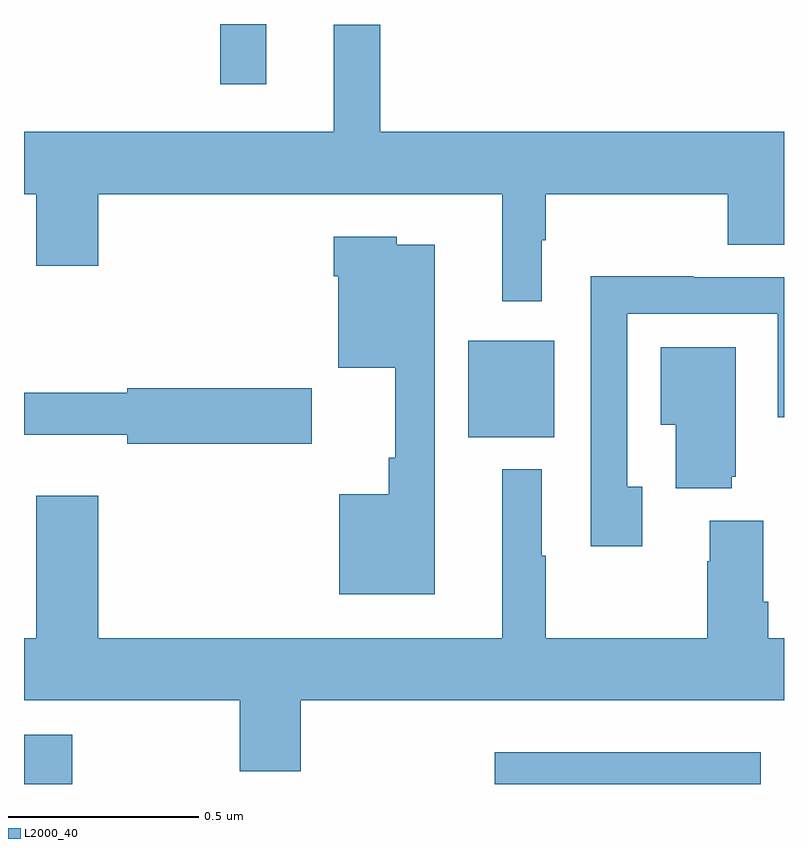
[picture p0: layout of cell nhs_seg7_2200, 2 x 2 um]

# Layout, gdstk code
import gdstk
lib = gdstk.Library(unit=1e-6, precision=1e-09)
def R(c, l, rs):  # rectangles x0, y0, x1, y1
    for r in rs: c.add(gdstk.rectangle(r[:2], r[2:], *l))
def P(c, l, *ps):  # polygons
    for p in ps: c.add(gdstk.Polygon(p, *l))
L2000_40 = (2000, 40)

nhs_seg7_2200 = lib.new_cell('nhs_seg7_2200')
R(nhs_seg7_2200, L2000_40, [(141,1063,141.127,1063.129), (142.239,1063,142.939,1063.084), (142.169,1063.913,142.396,1064.167), (141.516,1064.841,141.637,1065)])
P(nhs_seg7_2200, L2000_40, [(142.363,1064.431),(142.373,1064.431),(142.373,1064.552),(142.852,1064.552),(142.852,1064.419),(143,1064.419),(143,1064.716),(141.937,1064.716),(141.937,1064.998),(141.815,1064.998),(141.815,1064.716),(141,1064.716),(141,1064.552),(141.032,1064.552),(141.032,1064.364),(141.196,1064.364),(141.196,1064.552),(142.259,1064.552),(142.259,1064.271),(142.363,1064.271)],
  [(142.081,1064.419),(141.981,1064.419),(141.981,1064.44),(141.815,1064.44),(141.815,1064.336),(141.827,1064.336),(141.827,1064.096),(141.977,1064.096),(141.977,1063.858),(141.96,1063.858),(141.96,1063.762),(141.83,1063.762),(141.83,1063.499),(142.081,1063.499)],
  [(142.627,1063.782),(142.587,1063.782),(142.587,1064.238),(142.983,1064.238),(142.983,1063.965),(143,1063.965),(143,1064.334),(142.763,1064.334),(142.763,1064.336),(142.491,1064.336),(142.491,1063.626),(142.627,1063.626)],
  [(142.862,1063.809),(142.873,1063.809),(142.873,1064.149),(142.676,1064.149),(142.676,1063.946),(142.715,1063.946),(142.715,1063.778),(142.862,1063.778)],
  [(141.757,1064.042),(141.272,1064.042),(141.272,1064.029),(141,1064.029),(141,1063.919),(141.272,1063.919),(141.272,1063.895),(141.757,1063.895)],
  [(141.728,1063.22),(143,1063.22),(143,1063.384),(142.958,1063.384),(142.958,1063.48),(142.945,1063.48),(142.945,1063.693),(142.805,1063.693),(142.805,1063.586),(142.798,1063.586),(142.798,1063.384),(142.373,1063.384),(142.373,1063.601),(142.363,1063.601),(142.363,1063.828),(142.259,1063.828),(142.259,1063.384),(141.196,1063.384),(141.196,1063.759),(141.032,1063.759),(141.032,1063.384),(141,1063.384),(141,1063.22),(141.568,1063.22),(141.568,1063.033),(141.728,1063.033)])

lib.write_gds('nhs_seg7_2200.gds')
